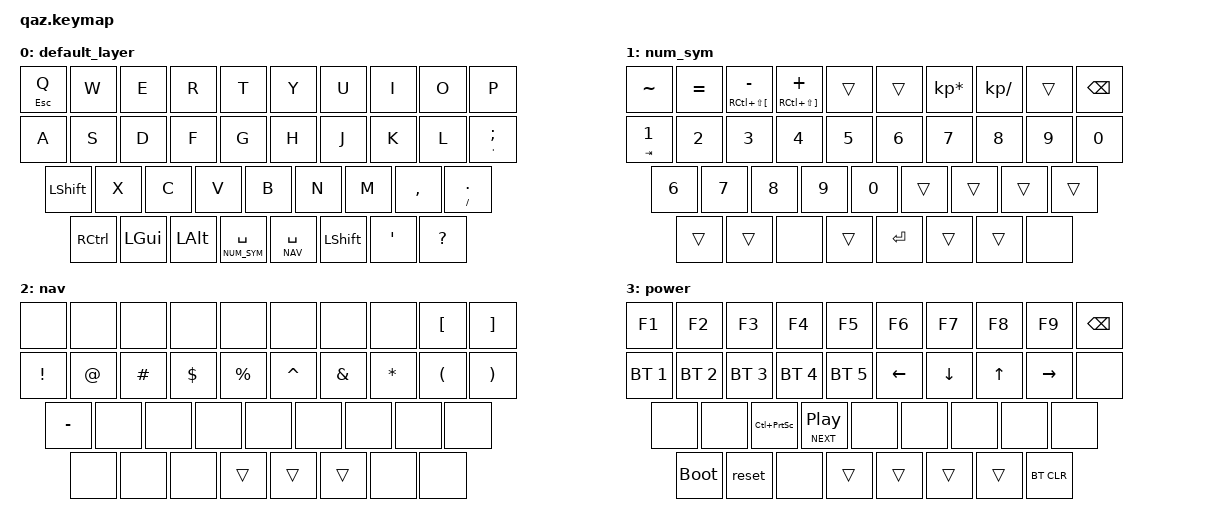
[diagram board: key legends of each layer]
/*
 * Copyright (c) 2020 The ZMK Contributors
 *
 * SPDX-License-Identifier: MIT
 */

#include <behaviors.dtsi>
#include <dt-bindings/zmk/keys.h>
#include <dt-bindings/zmk/bt.h>

#define DEFAULT 0
#define NUM_SYM 1
#define NAV     2
#define POWER   3


/ {
    behaviors {
        hm: homerow_mods {
            compatible = "zmk,behavior-hold-tap";
            label = "homerow mods";
            #binding-cells = <2>;
            tapping-term-ms = <200>;
            flavor = "tap-preferred";
            bindings = <&kp>, <&kp>;
        };
    };

    combos {
        compatible = "zmk,combos";
        combo_esc {
            timeout-ms = <20>;
            key-positions = <8 9>;
            bindings = <&kp BSPC>;
        };
        combo_powerlayer {
            timeout-ms = <20>;
            key-positions = <32 33>;
            bindings = <&mo POWER>;
        };
        combo_tab {
            timeout-ms = <20>;
            key-positions = <10 31>;
            bindings = <&kp LA(TAB)>;
        };
        combo-z {
            timeout-ms = <20>;
            key-positions = <20 21>;
            bindings = <&kp Z>;
        };
    };
};

/ {
    keymap {
        compatible = "zmk,keymap";

        default_layer {
            bindings = <
            &hm ESC Q      &kp W      &kp E       &kp R       &kp T  &kp Y  &kp U       &kp I       &kp O      &kp P
            &kp A      &kp S      &kp D       &kp F       &kp G  &kp H  &kp J       &kp K   &kp L &hm SQT SEMICOLON
            &kp LSHFT                 &kp X       &kp C       &kp V  &kp B  &kp N       &kp M       &kp COMMA  &hm SLASH DOT
            &kp RCTRL  &kp LGUI   &kp LALT       &lt NUM_SYM SPACE    &lt NAV SPACE   &kp LSHFT   &kp SQT    &kp QMARK
            >;
        };
        num_sym {
            bindings = <
            &kp TILDE     &kp EQUAL     &hm RC(LS(LEFT_BRACKET)) MINUS     &hm RC(LS(RIGHT_BRACKET)) PLUS    &trans  &trans &kp KP_MULTIPLY &kp KP_DIVIDE      &trans &kp BSPC
            &hm TAB N1     &kp N2     &kp N3     &kp N4     &kp N5 &kp N6 &kp N7     &kp N8      &kp N9    &kp N0
            &kp N6 &kp N7     &kp N8      &kp N9    &kp N0  &trans      &trans       &trans     &trans
            &trans &trans    &none         &trans        &kp RET             &trans     &trans    &none
            >;
        };

    nav {
            bindings = <
            &none    &none      &none       &none       &none &none &none   &none    &kp LEFT_BRACKET       &kp RIGHT_BRACKET
            &kp EXCLAMATION     &kp AT_SIGN     &kp HASH     &kp DOLLAR      &kp PERCENT &kp CARET &kp AMPERSAND    &kp ASTERISK     &kp LEFT_PARENTHESIS &kp RIGHT_PARENTHESIS
            &kp MINUS       &none      &none   &none   &none &none        &none        &none     &none
            &none &none      &none         &trans        &trans             &trans       &none     &none
            >;
        };
    power {
            bindings = <
            &kp F1    &kp F2      &kp F3       &kp F4       &kp F5 &kp F6 &kp F7       &kp F8       &kp F9     &kp BSPC
            &bt BT_SEL 1     &bt BT_SEL 2     &bt BT_SEL 3     &bt BT_SEL 4      &bt BT_SEL 5 &kp LEFT_ARROW &kp DOWN_ARROW     &kp UP_ARROW      &kp RIGHT_ARROW &none
            &none       &none      &kp LC(PRINTSCREEN)      &hm C_NEXT C_PLAY_PAUSE &none &none        &none        &none     &none
            &bootloader &reset      &none         &trans        &trans             &trans       &trans     &bt BT_CLR
            >;
        };
    };
};
